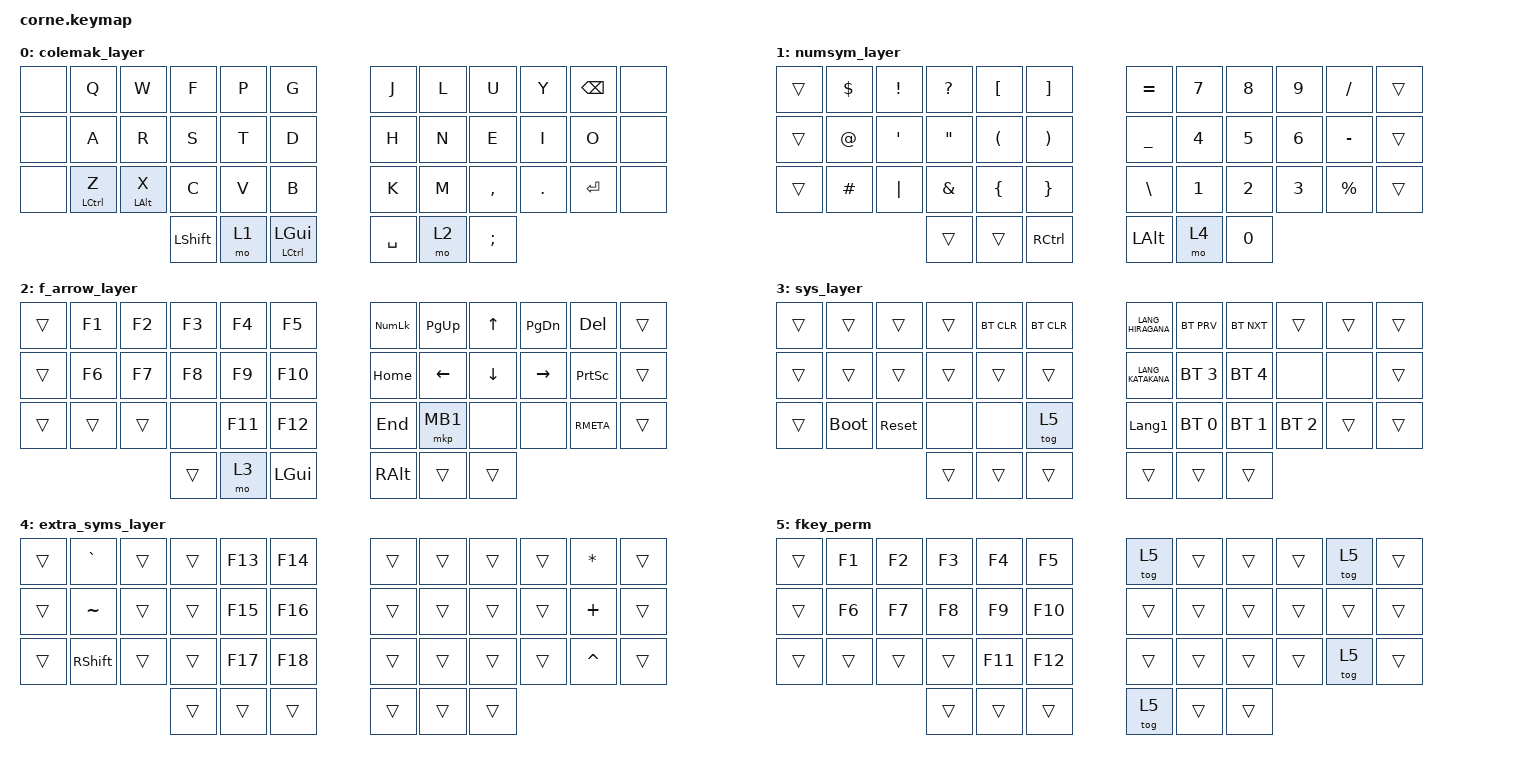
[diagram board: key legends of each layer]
/*
 * Copyright (c) 2020 The ZMK Contributors
 *
 * SPDX-License-Identifier: MIT
 */

#include <dt-bindings/zmk/mouse.h>
#include <behaviors.dtsi>
#include <dt-bindings/zmk/bt.h>
#include <dt-bindings/zmk/keys.h>
#include <dt-bindings/zmk/pointing.h>

&mt { flavor = "tap-preferred"; };

/ {
    combos {
        compatible = "zmk,combos";

        combo_esc {
            timeout-ms = <50>;
            key-positions = <>;
            bindings = <&kp ESCAPE>;
        };

        combo_semicolon {
            bindings = <&kp SEMICOLON>;
            key-positions = <>;
        };

        eschome {
            bindings = <&kp ESCAPE>;
            key-positions = <16 15 14>;
        };

        tabhome {
            bindings = <&kp TAB>;
            key-positions = <19 20 21>;
        };
    };

    conditional_layers { compatible = "zmk,conditional-layers"; };

    keymap {
        compatible = "zmk,keymap";

        colemak_layer {
            bindings = <
&none  &kp Q        &kp W           &kp F           &kp P  &kp G                 &kp J      &kp L  &kp U          &kp Y    &kp BACKSPACE  &none
&none  &kp A        &kp R           &kp S           &kp T  &kp D                 &kp H      &kp N  &kp E          &kp I    &kp O          &none
&none  &mt LCTRL Z  &mt LEFT_ALT X  &kp C           &kp V  &kp B                 &kp K      &kp M  &kp COMMA      &kp DOT  &kp ENTER      &none
                                    &kp LEFT_SHIFT  &mo 1  &mt LCTRL LEFT_GUI    &kp SPACE  &mo 2  &kp SEMICOLON
            >;
        };

        numsym_layer {
            bindings = <
&trans  &kp DOLLAR   &kp EXCLAMATION  &kp QUESTION       &kp LEFT_BRACKET      &kp RIGHT_BRACKET        &kp EQUAL       &kp N7        &kp N8        &kp N9        &kp SLASH    &trans
&trans  &kp AT_SIGN  &kp SQT          &kp DOUBLE_QUOTES  &kp LEFT_PARENTHESIS  &kp RIGHT_PARENTHESIS    &kp UNDERSCORE  &kp NUMBER_4  &kp N5        &kp NUMBER_6  &kp MINUS    &trans
&trans  &kp HASH     &kp PIPE         &kp AMPERSAND      &kp LEFT_BRACE        &kp RIGHT_BRACE          &kp BACKSLASH   &kp NUMBER_1  &kp NUMBER_2  &kp NUMBER_3  &kp PERCENT  &trans
                                      &trans             &trans                &kp RCTRL                &kp LEFT_ALT    &mo 4         &kp NUMBER_0
            >;
        };

        f_arrow_layer {
            bindings = <
&trans  &kp F1  &kp F2  &kp F3  &kp F4   &kp F5          &kp KP_NUMLOCK  &kp PG_UP  &kp UP_ARROW  &kp PAGE_DOWN  &kp DELETE       &trans
&trans  &kp F6  &kp F7  &kp F8  &kp F9   &kp F10         &kp HOME        &kp LEFT   &kp DOWN      &kp RIGHT      &kp PRINTSCREEN  &trans
&trans  &trans  &trans  &none   &kp F11  &kp F12         &kp END         &mkp MB1   &none         &none          &kp RMETA        &trans
                        &trans  &mo 3    &kp LEFT_GUI    &kp RALT        &trans     &trans
            >;
        };

        sys_layer {
            bindings = <
&trans  &trans       &trans      &trans  &bt BT_CLR  &bt BT_CLR    &kp LANG_HIRAGANA  &bt BT_PRV    &bt BT_NXT    &trans        &trans  &trans
&trans  &trans       &trans      &trans  &trans      &trans        &kp LANG_KATAKANA  &bt BT_SEL 3  &bt BT_SEL 4  &none         &none   &trans
&trans  &bootloader  &sys_reset  &none   &none       &tog 5        &kp LANGUAGE_1     &bt BT_SEL 0  &bt BT_SEL 1  &bt BT_SEL 2  &trans  &trans
                                 &trans  &trans      &trans        &trans             &trans        &trans
            >;
        };

        extra_syms_layer {
            bindings = <
&trans  &kp GRAVE   &trans  &trans  &kp F13  &kp F14    &trans  &trans  &trans  &trans  &kp ASTERISK  &trans
&trans  &kp TILDE   &trans  &trans  &kp F15  &kp F16    &trans  &trans  &trans  &trans  &kp PLUS      &trans
&trans  &kp RSHIFT  &trans  &trans  &kp F17  &kp F18    &trans  &trans  &trans  &trans  &kp CARET     &trans
                            &trans  &trans   &trans     &trans  &trans  &trans
            >;
        };

        fkey_perm {
            bindings = <
&trans  &kp F1  &kp F2  &kp F3  &kp F4   &kp F5     &tog 5  &trans  &trans  &trans  &tog 5  &trans
&trans  &kp F6  &kp F7  &kp F8  &kp F9   &kp F10    &trans  &trans  &trans  &trans  &trans  &trans
&trans  &trans  &trans  &trans  &kp F11  &kp F12    &trans  &trans  &trans  &trans  &tog 5  &trans
                        &trans  &trans   &trans     &tog 5  &trans  &trans
            >;
        };
    };
};
